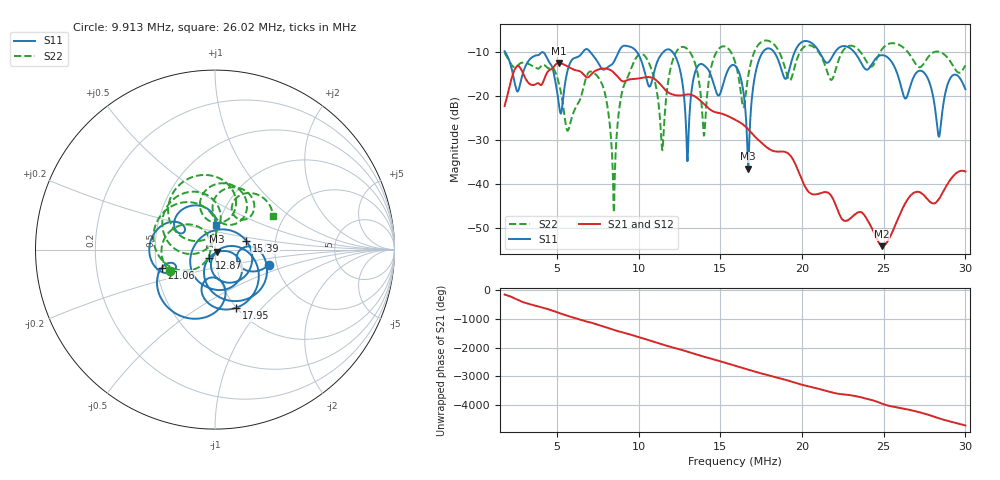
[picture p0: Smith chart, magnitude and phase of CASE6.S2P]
!Agilent Technologies,E5061B,MY49101568,A.02.00
!Date: Wed Mar 01 15:28:05 2023
!Data & Calibration Information:
!Freq	S11:SOLT2(OFF)	S21:SOLT2(OFF)	S12:SOLT2(OFF)	S22:SOLT2(OFF)
# Hz S dB R 50
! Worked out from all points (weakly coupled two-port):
!   1155 points, 1.8 MHz to 30 MHz, reference 50 ohm
!   highest |S21| = -12.54 dB at 5.123 MHz (marker M1); lowest = -54.1 dB at 24.87 MHz (marker M2)
!   lowest |S11| = -36.5 dB at 16.71 MHz (marker M3), VSWR 1.03, Z = 50.9 - j1.18 ohm
!   |S11| at or under -10 dB: 1.818 MHz to 6.604 MHz (4.786 MHz wide, 114 % of centre); 12.06 MHz to 17.62 MHz (5.559 MHz wide, 37.5 % of centre); 23.18 MHz to end of sweep (the widest 3 of 7)
!   |S22| runs from -46.5 to -7.5 dB; largest |S21 - S12| = 0.0031
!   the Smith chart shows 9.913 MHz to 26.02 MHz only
!   S11 on the Smith chart (normalised r, x): 9.913 MHz: 1.81, -0.35; 12.87 MHz: 0.93, -0.09; 15.39 MHz: 1.41, +0.15; 17.95 MHz: 1.00, -0.74; 21.06 MHz: 0.53, -0.12; 26.02 MHz: 0.97, +0.27
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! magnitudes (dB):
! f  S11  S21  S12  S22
! 1.8 MHz  -9.9  -22.3  -22.3  -10.3
! 5.123 MHz  -21.9  -12.5  -12.5  -17.2
! 6.516 MHz  -10.4  -14.7  -14.6  -19.7
! 7.763 MHz  -13.9  -13.8  -13.8  -17.4
! 8.496 MHz  -12.3  -14.8  -14.7  -46.5
! 9.913 MHz  -10.2  -16.1  -16.1  -11.1
! 11.21 MHz  -11.7  -16.9  -17.0  -21.4
! 11.48 MHz  -10.2  -18.0  -18.0  -31.8
! 12.31 MHz  -11.5  -19.9  -20.0  -10.0
! 12.87 MHz  -24.6  -19.7  -19.8  -9.1
! 13.99 MHz  -13.0  -21.8  -21.9  -29.0
! 15.39 MHz  -14.9  -24.5  -24.5  -9.0
! 15.9 MHz  -13.2  -25.4  -25.5  -12.3
! 16.71 MHz  -36.5  -27.6  -27.6  -15.5
! 17.95 MHz  -9.2  -32.0  -32.1  -7.5
! 20.62 MHz  -8.1  -42.3  -42.2  -8.7
! 21.06 MHz  -10.0  -42.2  -42.1  -10.3
! 24.87 MHz  -10.8  -54.1  -53.9  -9.6
! 25.31 MHz  -11.5  -52.5  -52.4  -8.2
! 26.02 MHz  -17.3  -46.6  -46.6  -8.6
! 28.39 MHz  -29.3  -43.4  -43.3  -10.0
! 30 MHz  -18.5  -37.2  -37.1  -13.1
